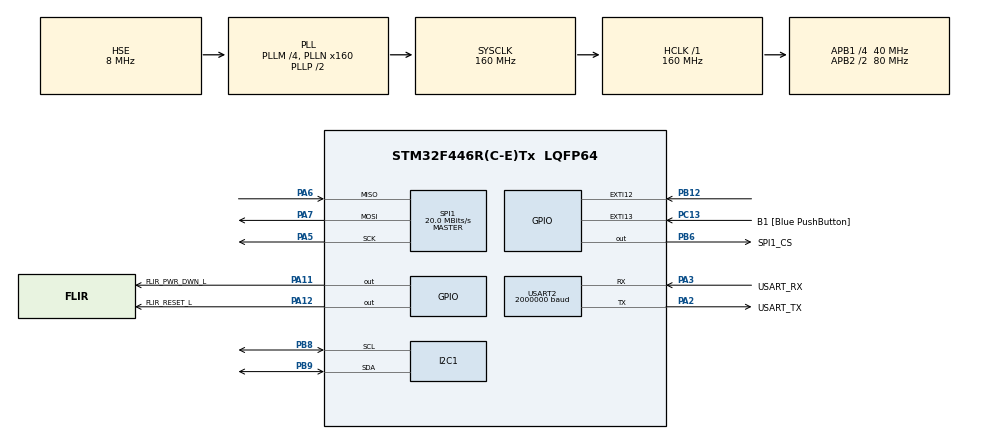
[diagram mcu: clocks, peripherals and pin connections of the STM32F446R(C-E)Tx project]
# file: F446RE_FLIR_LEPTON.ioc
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I2C1.I2C_Mode=I2C_Fast
Mcu.Family=STM32F4
Mcu.Name=STM32F446R(C-E)Tx
Mcu.Package=LQFP64
NVIC.PriorityGroup=NVIC_PRIORITYGROUP_0
NVIC.SPI1_IRQn=true\:0\:0\:false\:false\:true\:true\:true\:true
PA11.GPIO_Label=FLIR_PWR_DWN_L
PA11.PinState=GPIO_PIN_RESET
PA11.Signal=GPIO_Output
PA12.GPIO_Label=FLIR_RESET_L
PA12.PinState=GPIO_PIN_RESET
PA12.Signal=GPIO_Output
PA13.GPIO_Label=TMS
PA13.Mode=Serial_Wire
PA13.Signal=SYS_JTMS-SWDIO
PA14.GPIO_Label=TCK
PA14.Mode=Serial_Wire
PA14.Signal=SYS_JTCK-SWCLK
PA2.GPIO_Label=USART_TX
PA2.Mode=Asynchronous
PA2.Signal=USART2_TX
PA3.GPIO_Label=USART_RX
PA3.Mode=Asynchronous
PA3.Signal=USART2_RX
PA5.GPIO_PuPd=GPIO_NOPULL
PA5.Mode=Full_Duplex_Master
PA5.Signal=SPI1_SCK
PA6.Mode=Full_Duplex_Master
PA6.Signal=SPI1_MISO
PA7.Mode=Full_Duplex_Master
PA7.Signal=SPI1_MOSI
PB12.Signal=GPXTI12
PB6.GPIO_Label=SPI1_CS
PB6.PinState=GPIO_PIN_SET
PB6.Signal=GPIO_Output
PB8.Mode=I2C
PB8.Signal=I2C1_SCL
PB9.Mode=I2C
PB9.Signal=I2C1_SDA
PC13.GPIO_Label=B1 [Blue PushButton]
PC13.GPIO_ModeDefaultEXTI=GPIO_MODE_IT_FALLING
PC13.Signal=GPXTI13
PC14-OSC32_IN.Mode=LSE-External-Oscillator
PC14-OSC32_IN.Signal=RCC_OSC32_IN
PC15-OSC32_OUT.Mode=LSE-External-Oscillator
PC15-OSC32_OUT.Signal=RCC_OSC32_OUT
PH0-OSC_IN.Mode=HSE-External-Oscillator
PH0-OSC_IN.Signal=RCC_OSC_IN
PH1-OSC_OUT.Mode=HSE-External-Oscillator
PH1-OSC_OUT.Signal=RCC_OSC_OUT
ProjectManager.HeapSize=0x200
ProjectManager.StackSize=0x400
ProjectManager.TargetToolchain=STM32CubeIDE
RCC.48MHZClocksFreq_Value=84000000
RCC.AHBFreq_Value=160000000
RCC.APB1CLKDivider=RCC_HCLK_DIV4
RCC.APB1Freq_Value=40000000
RCC.APB1TimFreq_Value=80000000
RCC.APB2CLKDivider=RCC_HCLK_DIV2
RCC.APB2Freq_Value=80000000
RCC.APB2TimFreq_Value=160000000
RCC.CortexFreq_Value=160000000
RCC.FLatency-AdvancedSettings=FLASH_LATENCY_5
RCC.HCLKFreq_Value=160000000
RCC.HSE_VALUE=8000000
RCC.HSI_VALUE=16000000
RCC.PLLM=4
RCC.PLLN=160
RCC.PLLSourceVirtual=RCC_PLLSOURCE_HSE
RCC.SYSCLKFreq_VALUE=160000000
RCC.SYSCLKSource=RCC_SYSCLKSOURCE_PLLCLK
RCC.USBFreq_Value=160000000
RCC.VCOOutputFreq_Value=320000000
SPI1.BaudRatePrescaler=SPI_BAUDRATEPRESCALER_4
SPI1.CLKPhase=SPI_PHASE_2EDGE
SPI1.CLKPolarity=SPI_POLARITY_HIGH
SPI1.CalculateBaudRate=20.0 MBits/s
SPI1.Direction=SPI_DIRECTION_2LINES
SPI1.Mode=SPI_MODE_MASTER
SPI1.VirtualType=VM_MASTER
USART2.BaudRate=2000000
USART2.OverSampling=UART_OVERSAMPLING_8
USART2.VirtualMode=VM_ASYNC
board=NUCLEO-F446RE

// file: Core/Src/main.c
/* USER CODE BEGIN Header */
/**
  ******************************************************************************
  * @file           : main.c
  * @brief          : Main program body
  ******************************************************************************
  * @attention
  *
  * Copyright (c) 2022 STMicroelectronics.
  * All rights reserved.
  *
  * This software is licensed under terms that can be found in the LICENSE file
  * in the root directory of this software component.
  * If no LICENSE file comes with this software, it is provided AS-IS.
  *
  ******************************************************************************
  */
/* USER CODE END Header */
#include "main.h"

/* USER CODE BEGIN Includes */
#include "lepton.h"
#include <stdbool.h>
#include <stdio.h>
#include <string.h>

/* USER CODE END Includes */

I2C_HandleTypeDef hi2c1;

SPI_HandleTypeDef hspi1;

UART_HandleTypeDef huart2;

/* USER CODE BEGIN PV */
extern int image_state;

/* USER CODE END PV */

void SystemClock_Config(void);
static void MX_GPIO_Init(void);
static void MX_USART2_UART_Init(void);
static void MX_I2C1_Init(void);
static void MX_SPI1_Init(void);

int main(void)
{

  /* MCU Configuration--------------------------------------------------------*/

  /* Reset of all peripherals, Initializes the Flash interface and the Systick. */
  HAL_Init();

  /* Configure the system clock */
  SystemClock_Config();

  /* Initialize all configured peripherals */
  MX_GPIO_Init();
  MX_USART2_UART_Init();
  MX_I2C1_Init();
  MX_SPI1_Init();
  /* USER CODE BEGIN 2 */
  lepton_Init(&hi2c1, &hspi1, &huart2, SPI1_CS_GPIO_Port, SPI1_CS_Pin);

  HAL_GPIO_WritePin(FLIR_PWR_DWN_L_GPIO_Port, FLIR_PWR_DWN_L_Pin, GPIO_PIN_RESET);
  HAL_Delay(100);
  HAL_GPIO_WritePin(FLIR_PWR_DWN_L_GPIO_Port, FLIR_PWR_DWN_L_Pin, GPIO_PIN_SET);
  HAL_GPIO_WritePin(FLIR_RESET_L_GPIO_Port, FLIR_RESET_L_Pin, GPIO_PIN_RESET);
  HAL_Delay(5000);
  HAL_GPIO_WritePin(FLIR_RESET_L_GPIO_Port, FLIR_RESET_L_Pin, GPIO_PIN_SET);

//  lepton_radiometry(true);
//  lepton_vsync(true);

  char buf[20];
  sprintf(buf, "hola mundo");
  HAL_UART_Transmit(&huart2, buf, strlen(buf), 100);

  /* USER CODE END 2 */

  /* Infinite loop */
  /* USER CODE BEGIN WHILE */
  while (1)
  {
	  if(image_state == 0)
	  {
		  while(image_state != -1) print_image_binary_background();
	  }

	  transfer();
	  HAL_UART_Transmit(&huart2, buf, strlen(buf), 100);

    /* USER CODE END WHILE */

  }
}

void SystemClock_Config(void)
{
  RCC_OscInitTypeDef RCC_OscInitStruct = {0};
  RCC_ClkInitTypeDef RCC_ClkInitStruct = {0};

  /** Configure the main internal regulator output voltage
  */
  __HAL_RCC_PWR_CLK_ENABLE();
  __HAL_PWR_VOLTAGESCALING_CONFIG(PWR_REGULATOR_VOLTAGE_SCALE1);

  /** Initializes the RCC Oscillators according to the specified parameters
  * in the RCC_OscInitTypeDef structure.
  */
  RCC_OscInitStruct.OscillatorType = RCC_OSCILLATORTYPE_HSE;
  RCC_OscInitStruct.HSEState = RCC_HSE_ON;
  RCC_OscInitStruct.PLL.PLLState = RCC_PLL_ON;
  RCC_OscInitStruct.PLL.PLLSource = RCC_PLLSOURCE_HSE;
  RCC_OscInitStruct.PLL.PLLM = 4;
  RCC_OscInitStruct.PLL.PLLN = 160;
  RCC_OscInitStruct.PLL.PLLP = RCC_PLLP_DIV2;
  RCC_OscInitStruct.PLL.PLLQ = 2;
  RCC_OscInitStruct.PLL.PLLR = 2;
  if (HAL_RCC_OscConfig(&RCC_OscInitStruct) != HAL_OK)
  {
    Error_Handler();
  }

  /** Initializes the CPU, AHB and APB buses clocks
  */
  RCC_ClkInitStruct.ClockType = RCC_CLOCKTYPE_HCLK|RCC_CLOCKTYPE_SYSCLK
                              |RCC_CLOCKTYPE_PCLK1|RCC_CLOCKTYPE_PCLK2;
  RCC_ClkInitStruct.SYSCLKSource = RCC_SYSCLKSOURCE_PLLCLK;
  RCC_ClkInitStruct.AHBCLKDivider = RCC_SYSCLK_DIV1;
  RCC_ClkInitStruct.APB1CLKDivider = RCC_HCLK_DIV4;
  RCC_ClkInitStruct.APB2CLKDivider = RCC_HCLK_DIV2;

  if (HAL_RCC_ClockConfig(&RCC_ClkInitStruct, FLASH_LATENCY_5) != HAL_OK)
  {
    Error_Handler();
  }
}

static void MX_I2C1_Init(void)
{

  hi2c1.Instance = I2C1;
  hi2c1.Init.ClockSpeed = 400000;
  hi2c1.Init.DutyCycle = I2C_DUTYCYCLE_2;
  hi2c1.Init.OwnAddress1 = 0;
  hi2c1.Init.AddressingMode = I2C_ADDRESSINGMODE_7BIT;
  hi2c1.Init.DualAddressMode = I2C_DUALADDRESS_DISABLE;
  hi2c1.Init.OwnAddress2 = 0;
  hi2c1.Init.GeneralCallMode = I2C_GENERALCALL_DISABLE;
  hi2c1.Init.NoStretchMode = I2C_NOSTRETCH_DISABLE;
  if (HAL_I2C_Init(&hi2c1) != HAL_OK)
  {
    Error_Handler();
  }

}

static void MX_SPI1_Init(void)
{

  /* SPI1 parameter configuration*/
  hspi1.Instance = SPI1;
  hspi1.Init.Mode = SPI_MODE_MASTER;
  hspi1.Init.Direction = SPI_DIRECTION_2LINES;
  hspi1.Init.DataSize = SPI_DATASIZE_8BIT;
  hspi1.Init.CLKPolarity = SPI_POLARITY_HIGH;
  hspi1.Init.CLKPhase = SPI_PHASE_2EDGE;
  hspi1.Init.NSS = SPI_NSS_SOFT;
  hspi1.Init.BaudRatePrescaler = SPI_BAUDRATEPRESCALER_4;
  hspi1.Init.FirstBit = SPI_FIRSTBIT_MSB;
  hspi1.Init.TIMode = SPI_TIMODE_DISABLE;
  hspi1.Init.CRCCalculation = SPI_CRCCALCULATION_DISABLE;
  hspi1.Init.CRCPolynomial = 10;
  if (HAL_SPI_Init(&hspi1) != HAL_OK)
  {
    Error_Handler();
  }

}

static void MX_USART2_UART_Init(void)
{

  huart2.Instance = USART2;
  huart2.Init.BaudRate = 2000000;
  huart2.Init.WordLength = UART_WORDLENGTH_8B;
  huart2.Init.StopBits = UART_STOPBITS_1;
  huart2.Init.Parity = UART_PARITY_NONE;
  huart2.Init.Mode = UART_MODE_TX_RX;
  huart2.Init.HwFlowCtl = UART_HWCONTROL_NONE;
  huart2.Init.OverSampling = UART_OVERSAMPLING_8;
  if (HAL_UART_Init(&huart2) != HAL_OK)
  {
    Error_Handler();
  }

}

static void MX_GPIO_Init(void)
{
  GPIO_InitTypeDef GPIO_InitStruct = {0};

  /* GPIO Ports Clock Enable */
  __HAL_RCC_GPIOC_CLK_ENABLE();
  __HAL_RCC_GPIOH_CLK_ENABLE();
  __HAL_RCC_GPIOA_CLK_ENABLE();
  __HAL_RCC_GPIOB_CLK_ENABLE();

  /*Configure GPIO pin Output Level */
  HAL_GPIO_WritePin(GPIOA, FLIR_PWR_DWN_L_Pin|FLIR_RESET_L_Pin, GPIO_PIN_RESET);

  /*Configure GPIO pin Output Level */
  HAL_GPIO_WritePin(SPI1_CS_GPIO_Port, SPI1_CS_Pin, GPIO_PIN_SET);

  /*Configure GPIO pin : B1_Pin */
  GPIO_InitStruct.Pin = B1_Pin;
  GPIO_InitStruct.Mode = GPIO_MODE_IT_FALLING;
  GPIO_InitStruct.Pull = GPIO_NOPULL;
  HAL_GPIO_Init(B1_GPIO_Port, &GPIO_InitStruct);

  /*Configure GPIO pin : PB12 */
  GPIO_InitStruct.Pin = GPIO_PIN_12;
  GPIO_InitStruct.Mode = GPIO_MODE_IT_RISING;
  GPIO_InitStruct.Pull = GPIO_NOPULL;
  HAL_GPIO_Init(GPIOB, &GPIO_InitStruct);

  /*Configure GPIO pins : FLIR_PWR_DWN_L_Pin FLIR_RESET_L_Pin */
  GPIO_InitStruct.Pin = FLIR_PWR_DWN_L_Pin|FLIR_RESET_L_Pin;
  GPIO_InitStruct.Mode = GPIO_MODE_OUTPUT_PP;
  GPIO_InitStruct.Pull = GPIO_NOPULL;
  GPIO_InitStruct.Speed = GPIO_SPEED_FREQ_LOW;
  HAL_GPIO_Init(GPIOA, &GPIO_InitStruct);

  /*Configure GPIO pin : SPI1_CS_Pin */
  GPIO_InitStruct.Pin = SPI1_CS_Pin;
  GPIO_InitStruct.Mode = GPIO_MODE_OUTPUT_PP;
  GPIO_InitStruct.Pull = GPIO_NOPULL;
  GPIO_InitStruct.Speed = GPIO_SPEED_FREQ_LOW;
  HAL_GPIO_Init(SPI1_CS_GPIO_Port, &GPIO_InitStruct);

}

/* USER CODE BEGIN 4 */
void HAL_GPIO_EXTI_Callback(uint16_t GPIO_Pin)
{
	if (GPIO_Pin == GPIO_PIN_12)
	{
		HAL_NVIC_DisableIRQ(EXTI15_10_IRQn);
//		lepton_getPacket();
//		transfer();
	}
}

void HAL_SPI_RxCpltCallback(SPI_HandleTypeDef *hspi)
{
	transfer();
//	HAL_NVIC_EnableIRQ(EXTI15_10_IRQn);
}
/* USER CODE END 4 */

void Error_Handler(void)
{
  __disable_irq();
  while (1)
  {
  }
}
